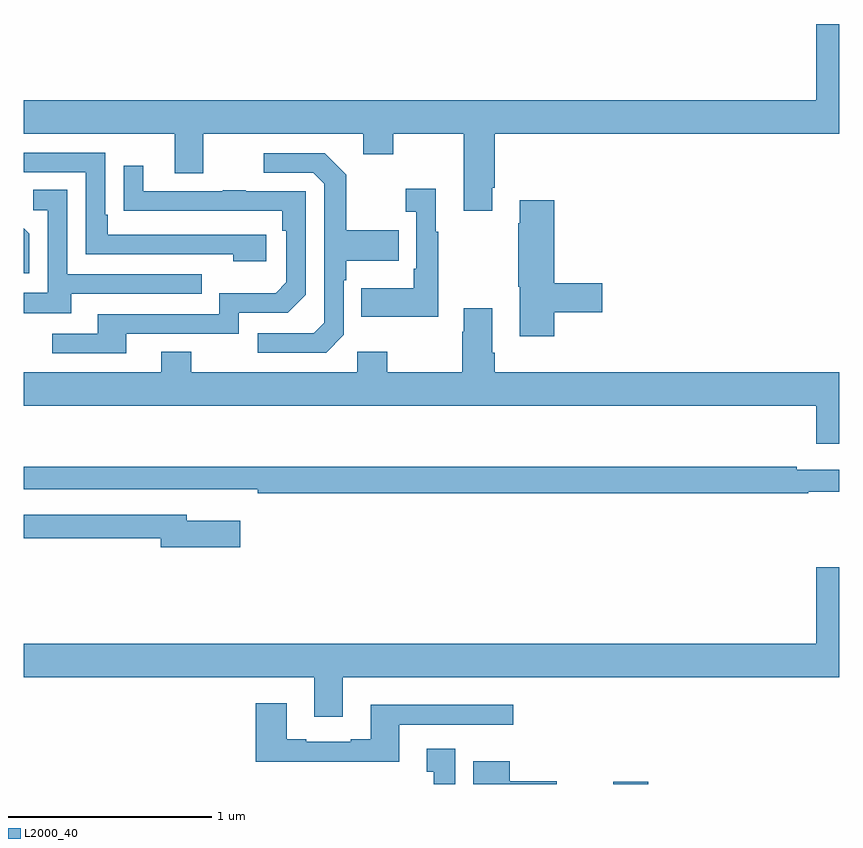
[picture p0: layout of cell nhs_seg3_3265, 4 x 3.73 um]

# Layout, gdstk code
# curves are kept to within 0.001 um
import gdstk
lib = gdstk.Library(unit=1e-6, precision=1e-09)
def R(c, l, rs):  # rectangles x0, y0, x1, y1
    for r in rs: c.add(gdstk.rectangle(r[:2], r[2:], *l))
def P(c, l, *ps):  # polygons
    for p in ps: c.add(gdstk.Polygon(p, *l))
L2000_40 = (2000, 40)

nhs_seg3_3265 = lib.new_cell('nhs_seg3_3265')
R(nhs_seg3_3265, L2000_40, [(283.892,692.4,284.063,692.41)])
P(nhs_seg3_3265, L2000_40, [(283.297,695.323),(283.31,695.323),(283.31,695.588),(285,695.588),(285,696.127),(284.888,696.127),(284.888,695.752),(281,695.752),(281,695.588),(281.741,695.588),(281.741,695.394),(281.881,695.394),(281.881,695.588),(282.665,695.588),(282.665,695.489),(282.813,695.489),(282.813,695.588),(283.157,695.588),(283.157,695.211),(283.297,695.211)],
  [(282.19,695.094),(281.413,695.094),(281.413,695.191),(281.4,695.191),(281.4,695.496),(281,695.496),(281,695.399),(281.304,695.4),(281.304,694.998),(282.029,694.998),(282.029,694.964),(282.19,694.964)],
  [(282.57,694.602),(282.57,694.871),(282.583,694.871),(282.583,694.967),(282.839,694.967),(282.839,695.115),(282.583,695.115),(282.583,695.387),(282.477,695.493),(282.177,695.493),(282.177,695.397),(282.42,695.397),(282.474,695.343),(282.474,694.662),(282.423,694.611),(282.147,694.611),(282.147,694.515),(282.483,694.515)],
  [(281.503,694.608),(282.054,694.608),(282.054,694.71),(282.294,694.71),(282.384,694.8),(282.384,695.307),(282.089,695.307),(282.089,695.312),(281.977,695.312),(281.977,695.307),(281.587,695.307),(281.587,695.431),(281.491,695.431),(281.491,695.212),(282.268,695.211),(282.268,695.114),(282.288,695.114),(282.288,694.86),(282.235,694.807),(281.958,694.807),(281.958,694.704),(281.363,694.704),(281.363,694.608),(281.139,694.608),(281.139,694.512),(281.503,694.512)],
  [(283.033,695.107),(283.021,695.107),(283.021,695.32),(282.873,695.32),(282.873,695.207),(282.924,695.207),(282.924,694.927),(282.912,694.927),(282.912,694.831),(282.655,694.831),(282.655,694.691),(283.033,694.691)],
  [(281.233,694.803),(281.873,694.803),(281.873,694.899),(281.214,694.899),(281.214,695.315),(281.046,695.315),(281.046,695.214),(281.118,695.214),(281.118,694.809),(281,694.809),(281,694.709),(281.233,694.709)],
  [(283.601,694.714),(283.837,694.714),(283.837,694.856),(283.601,694.856),(283.601,695.263),(283.433,695.263),(283.433,695.15),(283.426,695.15),(283.426,694.839),(283.433,694.839),(283.433,694.596),(283.601,694.596)],
  [(281.028,695.098),(281,695.126),(281,694.905),(281.028,694.905)],
  [(285,694.42),(283.31,694.42),(283.31,694.516),(283.297,694.516),(283.297,694.732),(283.157,694.732),(283.157,694.619),(283.15,694.619),(283.15,694.42),(282.783,694.42),(282.783,694.519),(282.636,694.519),(282.636,694.42),(281.823,694.42),(281.823,694.519),(281.675,694.519),(281.675,694.42),(281,694.42),(281,694.256),(284.888,694.256),(284.888,694.068),(285,694.068)],
  [(284.848,693.834),(285,693.834),(285,693.942),(284.792,693.942),(284.792,693.955),(281,693.955),(281,693.846),(281.896,693.846),(281.896,693.845),(282.148,693.845),(282.148,693.826),(284.848,693.826)],
  [(282.061,693.691),(281.8,693.691),(281.8,693.72),(281,693.72),(281,693.604),(281.672,693.604),(281.672,693.562),(282.061,693.562)],
  [(282.565,692.924),(285,692.924),(285,693.463),(284.888,693.463),(284.888,693.088),(281,693.088),(281,692.924),(282.425,692.924),(282.425,692.73),(282.565,692.73)],
  [(282.841,692.691),(283.402,692.691),(283.402,692.788),(282.701,692.788),(282.701,692.62),(282.605,692.62),(282.605,692.607),(282.385,692.607),(282.385,692.62),(282.289,692.62),(282.289,692.797),(282.137,692.797),(282.137,692.51),(282.841,692.51)],
  [(283.117,692.572),(282.977,692.572),(282.977,692.459),(283.01,692.459),(283.01,692.4),(283.117,692.4)],
  [(283.615,692.414),(283.384,692.414),(283.384,692.512),(283.205,692.512),(283.205,692.4),(283.615,692.4)])

lib.write_gds('nhs_seg3_3265.gds')
